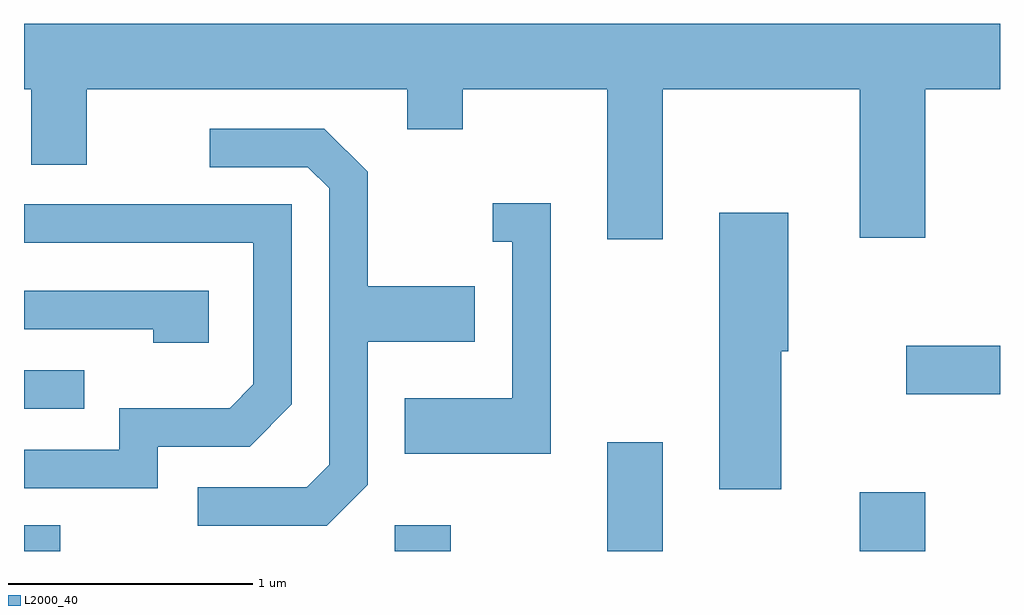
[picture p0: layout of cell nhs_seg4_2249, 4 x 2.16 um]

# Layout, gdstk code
import gdstk
lib = gdstk.Library(unit=1e-6, precision=1e-09)
def R(c, l, rs):  # rectangles x0, y0, x1, y1
    for r in rs: c.add(gdstk.rectangle(r[:2], r[2:], *l))
def P(c, l, *ps):  # polygons
    for p in ps: c.add(gdstk.Polygon(p, *l))
L2000_40 = (2000, 40)

nhs_seg4_2249 = lib.new_cell('nhs_seg4_2249')
R(nhs_seg4_2249, L2000_40, [(251.611,1263.982,251.759,1264.089), (253.131,1263.982,253.359,1264.089), (254.001,1263.982,254.229,1264.429), (255.036,1263.982,255.304,1264.224), (251.611,1264.566,251.858,1264.724), (255.226,1264.626,255.611,1264.824)])
P(nhs_seg4_2249, L2000_40, [(254.229,1265.876),(255.036,1265.876),(255.036,1265.266),(255.304,1265.266),(255.304,1265.876),(255.611,1265.876),(255.611,1266.144),(251.611,1266.144),(251.611,1265.876),(251.641,1265.876),(251.641,1265.566),(251.869,1265.566),(251.869,1265.876),(253.181,1265.876),(253.181,1265.711),(253.409,1265.711),(253.409,1265.876),(254.001,1265.876),(254.001,1265.261),(254.229,1265.261)],
  [(253.019,1264.254),(253.019,1264.841),(253.459,1264.841),(253.459,1265.069),(253.019,1265.069),(253.019,1265.537),(252.842,1265.714),(252.373,1265.714),(252.373,1265.556),(252.774,1265.556),(252.861,1265.469),(252.861,1264.337),(252.769,1264.244),(252.323,1264.244),(252.323,1264.086),(252.852,1264.086)],
  [(253.769,1265.409),(253.533,1265.409),(253.533,1265.251),(253.611,1265.251),(253.611,1264.609),(253.171,1264.609),(253.171,1264.381),(253.769,1264.381)],
  [(252.159,1264.411),(252.537,1264.411),(252.709,1264.584),(252.709,1265.404),(251.611,1265.404),(251.611,1265.246),(252.551,1265.246),(252.551,1264.667),(252.454,1264.569),(252.001,1264.569),(252.001,1264.399),(251.611,1264.399),(251.611,1264.241),(252.159,1264.241)],
  [(254.714,1264.801),(254.744,1264.801),(254.744,1265.369),(254.461,1265.369),(254.461,1264.236),(254.714,1264.236)],
  [(252.369,1265.049),(251.611,1265.049),(251.611,1264.891),(252.141,1264.891),(252.141,1264.836),(252.369,1264.836)])

lib.write_gds('nhs_seg4_2249.gds')
